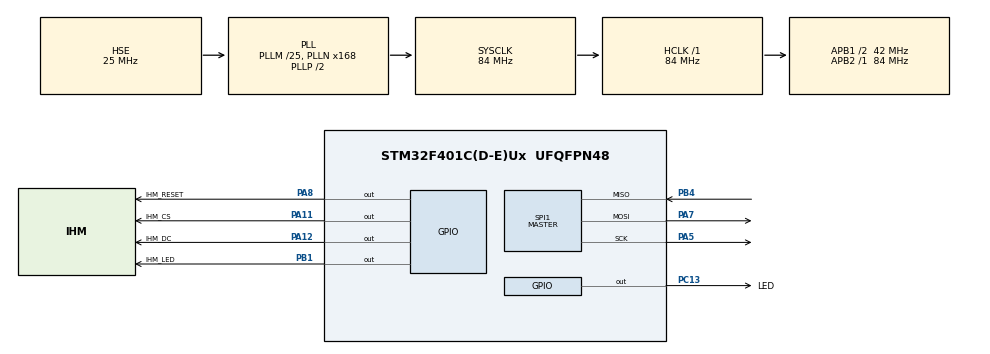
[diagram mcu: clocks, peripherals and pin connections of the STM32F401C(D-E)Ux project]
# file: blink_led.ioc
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Mcu.Family=STM32F4
Mcu.Name=STM32F401C(D-E)Ux
Mcu.Package=UFQFPN48
NVIC.PriorityGroup=NVIC_PRIORITYGROUP_4
PA11.GPIO_Label=IHM_CS
PA11.GPIO_Speed=GPIO_SPEED_FREQ_HIGH
PA11.Signal=GPIO_Output
PA12.GPIO_Label=IHM_DC
PA12.GPIO_Speed=GPIO_SPEED_FREQ_HIGH
PA12.Signal=GPIO_Output
PA13.Mode=Serial_Wire
PA13.Signal=SYS_JTMS-SWDIO
PA14.Mode=Serial_Wire
PA14.Signal=SYS_JTCK-SWCLK
PA5.Mode=Full_Duplex_Master
PA5.Signal=SPI1_SCK
PA7.Mode=Full_Duplex_Master
PA7.Signal=SPI1_MOSI
PA8.GPIO_Label=IHM_RESET
PA8.GPIO_Speed=GPIO_SPEED_FREQ_HIGH
PA8.Signal=GPIO_Output
PB1.GPIO_Label=IHM_LED
PB1.Signal=GPIO_Output
PB4.Mode=Full_Duplex_Master
PB4.Signal=SPI1_MISO
PC13-ANTI_TAMP.GPIO_Label=LED
PC13-ANTI_TAMP.Signal=GPIO_Output
PH0\ -\ OSC_IN.Mode=HSE-External-Oscillator
PH0\ -\ OSC_IN.Signal=RCC_OSC_IN
PH1\ -\ OSC_OUT.Mode=HSE-External-Oscillator
PH1\ -\ OSC_OUT.Signal=RCC_OSC_OUT
ProjectManager.HeapSize=0x200
ProjectManager.StackSize=0x400
ProjectManager.TargetToolchain=STM32CubeIDE
RCC.48MHZClocksFreq_Value=42000000
RCC.AHBFreq_Value=84000000
RCC.APB1CLKDivider=RCC_HCLK_DIV2
RCC.APB1Freq_Value=42000000
RCC.APB1TimFreq_Value=84000000
RCC.APB2Freq_Value=84000000
RCC.APB2TimFreq_Value=84000000
RCC.CortexFreq_Value=84000000
RCC.HCLKFreq_Value=84000000
RCC.HSE_VALUE=25000000
RCC.HSI_VALUE=16000000
RCC.LSE_VALUE=32768
RCC.PLLM=25
RCC.PLLN=168
RCC.PLLSourceVirtual=RCC_PLLSOURCE_HSE
RCC.SYSCLKFreq_VALUE=84000000
RCC.SYSCLKSource=RCC_SYSCLKSOURCE_PLLCLK
RCC.VCOOutputFreq_Value=168000000
SPI1.BaudRatePrescaler=SPI_BAUDRATEPRESCALER_2
SPI1.Direction=SPI_DIRECTION_2LINES
SPI1.Mode=SPI_MODE_MASTER
SPI1.VirtualType=VM_MASTER
board=custom

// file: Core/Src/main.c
/* USER CODE BEGIN Header */
/**
  ******************************************************************************
  * @file           : main.c
  * @brief          : Main program body (Dashboard Inteligente 3 Estados)
  ******************************************************************************
  * @attention
  *
  * Copyright (c) 2026 STMicroelectronics.
  * All rights reserved.
  *
  * This software is licensed under terms that can be found in the LICENSE file
  * in the root directory of this software component.
  * If no LICENSE file comes with this software, it is provided AS-IS.
  *
  ******************************************************************************
  */
/* USER CODE END Header */
#include "main.h"

/* USER CODE BEGIN Includes */
#include "lcd.h"
#include "GUI.h"
#include "icons.h"  // Nosso arquivo com as imagens convertidas
#include <stdio.h>  // Para formatar os textos (sprintf)
#include <string.h>
/* USER CODE END Includes */

SPI_HandleTypeDef hspi1;

/* USER CODE BEGIN PV */
DashboardData_t meu_dashboard;
/* USER CODE END PV */

void SystemClock_Config(void);
static void MX_GPIO_Init(void);
static void MX_SPI1_Init(void);

/* USER CODE BEGIN 0 */

// ==============================================================================
// 1. MÁQUINA DE ESTADOS DA IHM
// ==============================================================================

// Estados para Temperatura, Pressão e CC1101 (3 Níveis)
typedef enum {
    ESTADO_PADRAO = 0,
    ESTADO_BOM    = 1,
    ESTADO_RUIM   = 2
} EstadoSensor_t;

// Estados para NFC (2 Níveis)
typedef enum {
    DESCONECTADO = 0,
    CONECTADO    = 1
} EstadoConexao_t;

// Estrutura do Objeto Visual (Ícone)
typedef struct {
    uint16_t x;
    uint16_t y;
    uint16_t width;
    uint16_t height;
    uint8_t current_state;
    uint8_t last_state;
    const unsigned char **images;
} UI_Icon_t;

// ==============================================================================
// 2. MAPEAMENTO DAS IMAGENS AOS ESTADOS
// ==============================================================================
// A ordem AQUI importa! O índice [0] é Padrão, [1] é Bom, [2] é Ruim.
const unsigned char* umidade_imgs[] = {gImage_umidade, gImage_umidade, gImage_umidade};
const unsigned char* nfc_imgs[]     = {gImage_nfc_desconectado, gImage_nfc_conectado};
const unsigned char* cc1101_imgs[]  = {gImage_cc1101_padrao, gImage_cc1101_bom, gImage_cc1101_ruim};
const unsigned char* temp_imgs[]    = {gImage_temperatura_padrao, gImage_temperatura_bom, gImage_temperatura_ruim};
const unsigned char* pressao_imgs[] = {gImage_pressao_padrao, gImage_pressao_bom, gImage_pressao_ruim};

// ==============================================================================
// 3. INSTANCIANDO OS ÍCONES NA TELA (Posições X e Y)
// ==============================================================================
UI_Icon_t icon_temp  = {10, 50,  32, 32, ESTADO_PADRAO, 255, temp_imgs};
UI_Icon_t icon_umid  = {10, 90,  32, 32, ESTADO_PADRAO, 255, umidade_imgs};
UI_Icon_t icon_press = {10, 130, 32, 32, ESTADO_PADRAO, 255, pressao_imgs};
UI_Icon_t icon_nfc   = {10, 180, 32, 32, DESCONECTADO,  255, nfc_imgs};
UI_Icon_t icon_radio = {10, 230, 32, 32, ESTADO_PADRAO, 255, cc1101_imgs};

// ==============================================================================
// 4. MOTOR GRÁFICO (RENDERIZADOR)
// ==============================================================================

// Função Base de Desenho SPI (Agora recebe o Array de 8 bits gerado pelo LVGL)
void Draw_Image(uint16_t x, uint16_t y, uint16_t width, uint16_t height, const unsigned char *image)
{
    LCD_SetWindows(x, y, x + width - 1, y + height - 1);
    LCD_CS_CLR;
    LCD_RS_SET;
    HAL_SPI_Transmit(&hspi1, (uint8_t *)image, width * height * 2, 1000);
    LCD_CS_SET;
}

// Atualiza o ícone apenas se o estado mudar (Economiza muito processamento!)
void UI_Render_Icon(UI_Icon_t *icon) {
    if (icon->current_state != icon->last_state) {
        Draw_Image(icon->x, icon->y, icon->width, icon->height, icon->images[icon->current_state]);
        icon->last_state = icon->current_state; // Salva na memória o estado atual
    }
}

/* USER CODE END 0 */

int main(void)
{

  /* MCU Configuration--------------------------------------------------------*/

  /* Reset of all peripherals, Initializes the Flash interface and the Systick. */
  HAL_Init();

  /* Configure the system clock */
  SystemClock_Config();

  /* Initialize all configured peripherals */
  MX_GPIO_Init();
  MX_SPI1_Init();
  /* USER CODE BEGIN 2 */

  // Ligar o backlight do Display e Inicializar Hardware
  HAL_GPIO_WritePin(IHM_LED_GPIO_Port, IHM_LED_Pin, GPIO_PIN_SET);
  HAL_GPIO_WritePin(GPIOA, IHM_RESET_Pin, GPIO_PIN_SET);
  HAL_Delay(50);
  LCD_Init();

  // Valores iniciais do sistema
  meu_dashboard.temperatura_val = 24.5;
  meu_dashboard.temp_estado = TEMP_PADRAO;
  meu_dashboard.umidade_val = 60.0;
  meu_dashboard.pressao_val = 1013;
  meu_dashboard.pressao_estado = PRESSAO_PADRAO;

  meu_dashboard.porta_estado = PORTA_TRANCADA;
  meu_dashboard.nfc_estado = NFC_DESCONECTADO;
  meu_dashboard.cc1101_estado = CC1101_BOM; // Simulando online

  sprintf(meu_dashboard.room_number, "---");
  sprintf(meu_dashboard.nfc_id, "---");

  // Desenha a estrutura fixa da tela (uma vez só)
  GUI_InitDashboard();

  /* USER CODE END 2 */

  /* Infinite loop */
  while (1)
  {

    /* USER CODE BEGIN 3 */

    // =========================================================
    // ETAPA A: SIMULAÇÃO DOS SENSORES (Para teste)
    // =========================================================
    meu_dashboard.temperatura_val += 1.5;
    if(meu_dashboard.temperatura_val > 35.0) meu_dashboard.temperatura_val = 15.0;

    // Lógica da Temperatura
    if(meu_dashboard.temperatura_val >= 20.0 && meu_dashboard.temperatura_val <= 28.0) {
        meu_dashboard.temp_estado = TEMP_BOM;
    } else if(meu_dashboard.temperatura_val > 28.0) {
        meu_dashboard.temp_estado = TEMP_RUIM;
    } else {
        meu_dashboard.temp_estado = TEMP_PADRAO;
    }

    // Alterna a Porta a cada ciclo (Simulando aproximação do Cartão)
    static int toggle = 0;
    toggle = !toggle;

    if(toggle) {
        meu_dashboard.porta_estado = PORTA_ABERTA;
        meu_dashboard.nfc_estado = NFC_CONECTADO;
        sprintf(meu_dashboard.room_number, "101");
        sprintf(meu_dashboard.nfc_id, "AB-12-CD-34");
    } else {
        meu_dashboard.porta_estado = PORTA_TRANCADA;
        meu_dashboard.nfc_estado = NFC_DESCONECTADO;
        sprintf(meu_dashboard.room_number, "---");
        sprintf(meu_dashboard.nfc_id, "---");
    }

    // =========================================================
    // ETAPA B: RENDERIZAÇÃO NA TELA
    // =========================================================

    // Manda o Dashboard atualizar apenas o que mudou na struct
    GUI_UpdateDashboard(&meu_dashboard);

    // Pisca LED da placa (opcional)
    HAL_GPIO_TogglePin(LED_GPIO_Port, LED_Pin);

    // Delay de 1 segundo para conseguirmos ver a animação na tela
    HAL_Delay(1000);

  }
  /* USER CODE END 3 */
}

void SystemClock_Config(void)
{
  RCC_OscInitTypeDef RCC_OscInitStruct = {0};
  RCC_ClkInitTypeDef RCC_ClkInitStruct = {0};

  /** Configure the main internal regulator output voltage
  */
  __HAL_RCC_PWR_CLK_ENABLE();
  __HAL_PWR_VOLTAGESCALING_CONFIG(PWR_REGULATOR_VOLTAGE_SCALE2);

  /** Initializes the RCC Oscillators according to the specified parameters
  * in the RCC_OscInitTypeDef structure.
  */
  RCC_OscInitStruct.OscillatorType = RCC_OSCILLATORTYPE_HSE;
  RCC_OscInitStruct.HSEState = RCC_HSE_ON;
  RCC_OscInitStruct.PLL.PLLState = RCC_PLL_ON;
  RCC_OscInitStruct.PLL.PLLSource = RCC_PLLSOURCE_HSE;
  RCC_OscInitStruct.PLL.PLLM = 25;
  RCC_OscInitStruct.PLL.PLLN = 168;
  RCC_OscInitStruct.PLL.PLLP = RCC_PLLP_DIV2;
  RCC_OscInitStruct.PLL.PLLQ = 4;
  if (HAL_RCC_OscConfig(&RCC_OscInitStruct) != HAL_OK)
  {
    Error_Handler();
  }

  /** Initializes the CPU, AHB and APB buses clocks
  */
  RCC_ClkInitStruct.ClockType = RCC_CLOCKTYPE_HCLK|RCC_CLOCKTYPE_SYSCLK
                              |RCC_CLOCKTYPE_PCLK1|RCC_CLOCKTYPE_PCLK2;
  RCC_ClkInitStruct.SYSCLKSource = RCC_SYSCLKSOURCE_PLLCLK;
  RCC_ClkInitStruct.AHBCLKDivider = RCC_SYSCLK_DIV1;
  RCC_ClkInitStruct.APB1CLKDivider = RCC_HCLK_DIV2;
  RCC_ClkInitStruct.APB2CLKDivider = RCC_HCLK_DIV1;

  if (HAL_RCC_ClockConfig(&RCC_ClkInitStruct, FLASH_LATENCY_2) != HAL_OK)
  {
    Error_Handler();
  }
}

static void MX_SPI1_Init(void)
{

  /* SPI1 parameter configuration*/
  hspi1.Instance = SPI1;
  hspi1.Init.Mode = SPI_MODE_MASTER;
  hspi1.Init.Direction = SPI_DIRECTION_2LINES;
  hspi1.Init.DataSize = SPI_DATASIZE_8BIT;
  hspi1.Init.CLKPolarity = SPI_POLARITY_LOW;
  hspi1.Init.CLKPhase = SPI_PHASE_1EDGE;
  hspi1.Init.NSS = SPI_NSS_SOFT;
  hspi1.Init.BaudRatePrescaler = SPI_BAUDRATEPRESCALER_2;
  hspi1.Init.FirstBit = SPI_FIRSTBIT_MSB;
  hspi1.Init.TIMode = SPI_TIMODE_DISABLE;
  hspi1.Init.CRCCalculation = SPI_CRCCALCULATION_DISABLE;
  hspi1.Init.CRCPolynomial = 10;
  if (HAL_SPI_Init(&hspi1) != HAL_OK)
  {
    Error_Handler();
  }

}

static void MX_GPIO_Init(void)
{
  GPIO_InitTypeDef GPIO_InitStruct = {0};

  /* GPIO Ports Clock Enable */
  __HAL_RCC_GPIOC_CLK_ENABLE();
  __HAL_RCC_GPIOH_CLK_ENABLE();
  __HAL_RCC_GPIOA_CLK_ENABLE();
  __HAL_RCC_GPIOB_CLK_ENABLE();

  /*Configure GPIO pin Output Level */
  HAL_GPIO_WritePin(LED_GPIO_Port, LED_Pin, GPIO_PIN_RESET);

  /*Configure GPIO pin Output Level */
  HAL_GPIO_WritePin(IHM_LED_GPIO_Port, IHM_LED_Pin, GPIO_PIN_RESET);

  /*Configure GPIO pin Output Level */
  HAL_GPIO_WritePin(GPIOA, IHM_RESET_Pin|IHM_CS_Pin|IHM_DC_Pin, GPIO_PIN_RESET);

  /*Configure GPIO pin : LED_Pin */
  GPIO_InitStruct.Pin = LED_Pin;
  GPIO_InitStruct.Mode = GPIO_MODE_OUTPUT_PP;
  GPIO_InitStruct.Pull = GPIO_NOPULL;
  GPIO_InitStruct.Speed = GPIO_SPEED_FREQ_LOW;
  HAL_GPIO_Init(LED_GPIO_Port, &GPIO_InitStruct);

  /*Configure GPIO pin : IHM_LED_Pin */
  GPIO_InitStruct.Pin = IHM_LED_Pin;
  GPIO_InitStruct.Mode = GPIO_MODE_OUTPUT_PP;
  GPIO_InitStruct.Pull = GPIO_NOPULL;
  GPIO_InitStruct.Speed = GPIO_SPEED_FREQ_LOW;
  HAL_GPIO_Init(IHM_LED_GPIO_Port, &GPIO_InitStruct);

  /*Configure GPIO pins : IHM_RESET_Pin IHM_CS_Pin IHM_DC_Pin */
  GPIO_InitStruct.Pin = IHM_RESET_Pin|IHM_CS_Pin|IHM_DC_Pin;
  GPIO_InitStruct.Mode = GPIO_MODE_OUTPUT_PP;
  GPIO_InitStruct.Pull = GPIO_NOPULL;
  GPIO_InitStruct.Speed = GPIO_SPEED_FREQ_HIGH;
  HAL_GPIO_Init(GPIOA, &GPIO_InitStruct);

}

void Error_Handler(void)
{
  __disable_irq();
  while (1)
  {
  }
}
